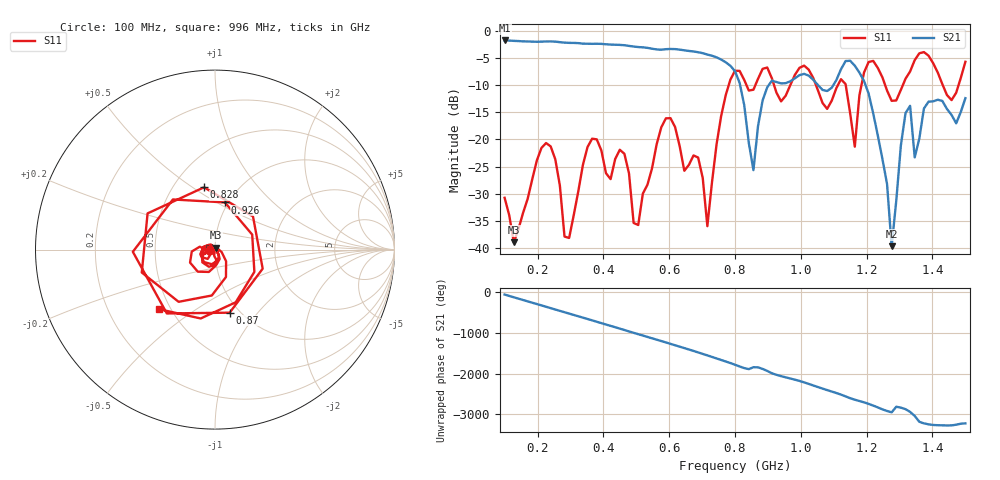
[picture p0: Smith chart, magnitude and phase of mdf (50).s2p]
! NanoVNA-App
! Date: 2025-09-25 15:38:49
! Start: 100MHz Stop: 1,5GHz Points: 101
! S-Parameter data: F S11 S21 S12 S22
# Hz S RI R 50
!  Frequency  S11_Real  S11_Imag  S21_Real  S21_Imag  S12_Real  S12_Imag  S22_Real  S22_Imag
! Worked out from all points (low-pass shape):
!   101 points, 100 MHz to 1.5 GHz, reference 50 ohm
!   highest |S21| = -1.80 dB at 100 MHz (marker M1); lowest = -39.7 dB at 1.276 GHz (marker M2)
!   |S21| within 3 dB of the highest: start of sweep to 739 MHz
!   lowest |S11| = -39.0 dB at 128 MHz (marker M3), VSWR 1.02, Z = 50.3 + j1.08 ohm
!   |S11| at or under -10 dB: start of sweep to 781.1 MHz; 918.5 MHz to 968.2 MHz (49.64 MHz wide, 5.26 % of centre); 1.046 GHz to 1.113 GHz (67.05 MHz wide, 6.21 % of centre) (the widest 3 of 7)
!   S12 and S22 are empty: the file has one direction only
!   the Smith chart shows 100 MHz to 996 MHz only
!   S11 on the Smith chart (normalised r, x): 100 MHz: 0.94, -0.01; 828 MHz: 0.70, +0.56; 870 MHz: 0.90, -0.73; 926 MHz: 0.96, +0.55; 996 MHz: 0.43, -0.36
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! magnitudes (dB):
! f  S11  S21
! 100 MHz  -30.8  -1.8
! 128 MHz  -39.0  -1.9
! 212 MHz  -21.6  -2.0
! 282 MHz  -37.9  -2.2
! 338 MHz  -24.7  -2.4
! 464 MHz  -22.7  -2.7
! 506 MHz  -35.8  -3.0
! 576 MHz  -17.8  -3.5
! 688 MHz  -23.4  -4.0
! 716 MHz  -36.0  -4.4
! 800 MHz  -7.4  -7.5
! 828 MHz  -9.1  -13.7
! 856 MHz  -10.9  -25.7
! 870 MHz  -8.9  -17.5
! 926 MHz  -11.4  -9.5
! 996 MHz  -6.8  -8.2
! 1.038 GHz  -8.7  -9.1
! 1.164 GHz  -21.3  -6.5
! 1.192 GHz  -7.7  -9.3
! 1.276 GHz  -12.9  -39.7
! 1.318 GHz  -8.9  -15.2
! 1.5 GHz  -5.7  -12.4
